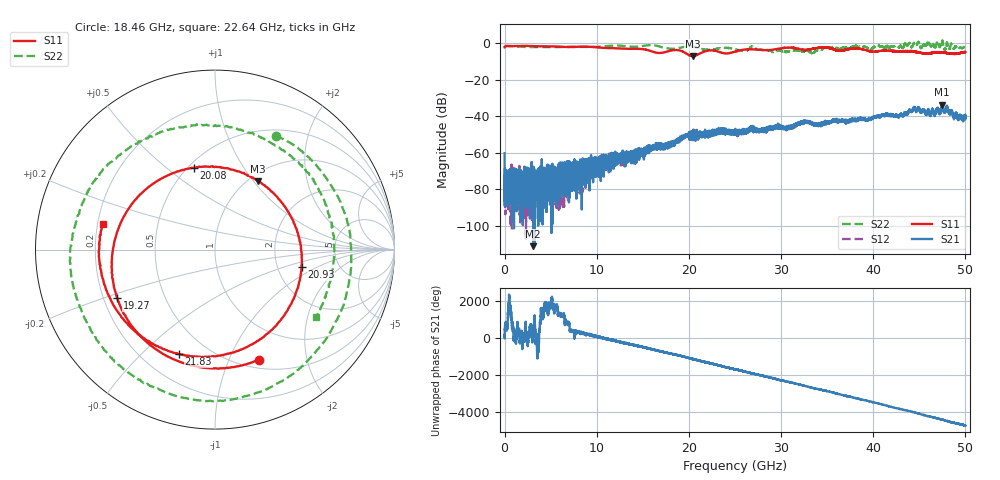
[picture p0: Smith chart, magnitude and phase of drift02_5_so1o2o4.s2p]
!Created with skrf (http://scikit-rf.org).
# Hz S RI R 50.0
!freq ReS11 ImS11 ReS21 ImS21 ReS12 ImS12 ReS22 ImS22
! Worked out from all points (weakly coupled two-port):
!   10001 points, 300 kHz to 50 GHz, reference 50 ohm
!   highest |S21| = -33.62 dB at 47.49 GHz (marker M1); lowest = -111.2 dB at 3.105 GHz (marker M2)
!   lowest |S11| = -6.9 dB at 20.41 GHz (marker M3), VSWR 2.63, Z = 54.9 + j52.5 ohm
!   |S11| at or under -10 dB: nowhere
!   |S22| runs from -5.3 to 1.7 dB; largest |S21 - S12| = 0.0034
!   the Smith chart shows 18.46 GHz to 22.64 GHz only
!   S11 on the Smith chart (normalised r, x): 18.46 GHz: 0.59, -1.29; 19.27 GHz: 0.26, -0.22; 20.08 GHz: 0.53, +0.63; 20.93 GHz: 2.73, -0.71; 21.83 GHz: 0.35, -0.65; 22.64 GHz: 0.22, +0.11
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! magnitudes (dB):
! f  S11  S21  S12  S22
! 300 kHz  -2.1  -60.2  -68.2  -1.3
! 255.3 MHz  -1.4  -86.5  -79.6  -1.4
! 3.105 GHz  -1.4  -111.2  -81.2  -2.0
! 8.335 GHz  -1.7  -69.2  -70.9  -1.9
! 16.67 GHz  -5.2  -57.2  -56.3  -1.5
! 18.46 GHz  -3.6  -54.4  -53.9  -2.9
! 19.27 GHz  -4.3  -52.0  -51.9  -2.2
! 20.08 GHz  -6.5  -50.5  -51.0  -1.5
! 20.41 GHz  -6.9  -49.7  -49.9  -1.7
! 20.93 GHz  -6.2  -50.0  -49.6  -2.2
! 21.83 GHz  -4.2  -50.2  -49.5  -3.5
! 22.64 GHz  -3.8  -49.2  -48.3  -3.4
! 25 GHz  -4.5  -48.5  -49.5  -3.3
! 26.11 GHz  -3.3  -47.9  -48.3  -4.4
! 26.9 GHz  -3.2  -46.0  -46.0  -1.7
! 33.34 GHz  -3.0  -43.5  -43.7  -5.3
! 34.92 GHz  -2.3  -43.4  -43.5  -2.2
! 41.67 GHz  -4.0  -39.4  -39.2  -2.2
! 44.62 GHz  -4.6  -36.6  -36.8  -0.7
! 46.03 GHz  -5.5  -36.9  -36.9  0.6
! 47.49 GHz  -4.8  -33.6  -34.0  1.1
! 50 GHz  -4.7  -40.7  -40.5  -1.5
